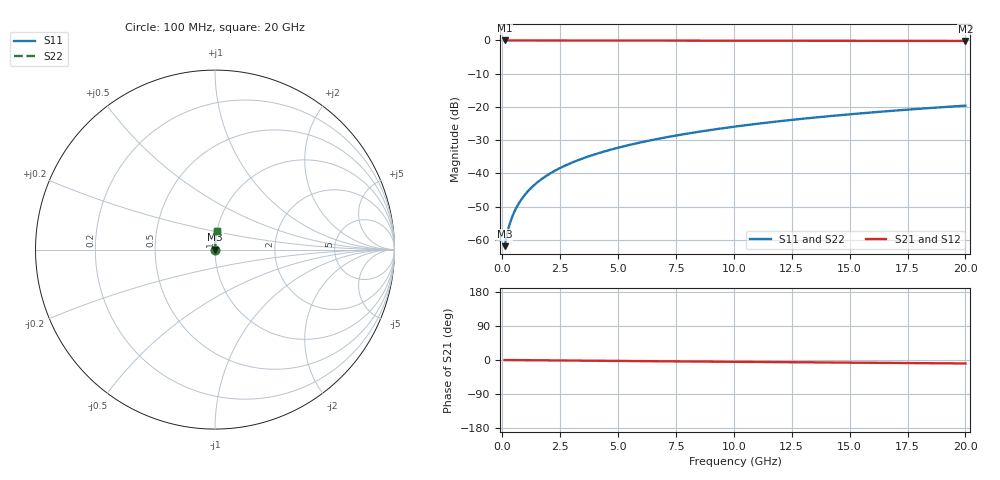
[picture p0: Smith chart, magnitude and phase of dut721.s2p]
! Touchstone file exported from HFSS 2024.1.0
!  File:  C:/UserFiles/LocalFiles/RDL_TSV_Batchsim/temp_RDL_bottom_721_1779858464.aedt
!  Generated:  01:10:05 PM May 27, 2026
!  Design:  RDL_bottom
!  Project:  temp_RDL_bottom_721_1779858464
!  Setup:  Setup1
!  Solution:  Sweep
! Variables:
!  dtsv = 10.80580581um
!  hbump = 3um
!  htsv = 54.42um
!  ldown = 111.56um
!  lrdl = 100um
!  p = 40
!  p1 = 40.71um
!  rhole = 1um
!  t = 450um
!  tdown = 4.75um
!  trdl = 3.915915916um
!  wdown = 18.03um
!  wrdl = 20um
# GHz S MA R 50.000000
! Terminal data exported
! Port[1] = RDL1_T1
! Port[2] = RDL1_T2
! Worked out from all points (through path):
!   200 points, 100 MHz to 20 GHz, reference 50 ohm
!   highest |S21| = -0.01 dB at 100 MHz (marker M1); lowest = -0.2 dB at 20 GHz (marker M2)
!   group delay of S21, straight-line fit = 1.25 ps
!   lowest |S11| = -61.9 dB at 100 MHz (marker M3), VSWR 1.00, Z = 50.1 + j0.0519 ohm
!   |S11| at or under -10 dB: start of sweep to end of sweep
!   |S22| runs from -61.9 to -19.6 dB; largest |S21 - S12| = 4.3e-15
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0.1  0.0008011 40.3  0.9994 -0.1  0.9994 -0.1  0.0008011 40.3
! Gamma 0 0 0 0
! Port Impedance 50 0 50 0
0.2  0.001202 57.9  0.9994 -0.1  0.9994 -0.1  0.001202 57.9
0.3  0.001641 66.2  0.9993 -0.2  0.9993 -0.2  0.001641 66.2
0.4  0.002091 71.0  0.9993 -0.2  0.9993 -0.2  0.002091 71.0
0.5  0.002546 74.2  0.9993 -0.3  0.9993 -0.3  0.002546 74.2
0.6  0.003006 76.5  0.9992 -0.3  0.9992 -0.3  0.003006 76.5
0.8  0.003936 79.7  0.9992 -0.4  0.9992 -0.4  0.003936 79.7
1.1  0.005347 82.4  0.9991 -0.6  0.9991 -0.6  0.005347 82.4
1.5  0.007246 84.4  0.999 -0.8  0.999 -0.8  0.007246 84.4
1.8  0.008677 85.4  0.9988 -0.9  0.9988 -0.9  0.008677 85.4
2.1  0.01011 86.1  0.9987 -1.1  0.9987 -1.1  0.01011 86.1
2.7  0.013 87.1  0.9983 -1.4  0.9983 -1.4  0.013 87.1
3.5  0.01689 87.9  0.9977 -1.8  0.9977 -1.8  0.01689 87.9
4.2  0.02032 88.3  0.9972 -2.1  0.9972 -2.1  0.02032 88.3
5  0.02429 88.7  0.9965 -2.5  0.9965 -2.5  0.02429 88.7
5.9  0.02883 88.9  0.9956 -2.9  0.9956 -2.9  0.02883 88.9
6.8  0.03343 89.0  0.9947 -3.3  0.9947 -3.3  0.03343 89.0
8.4  0.04176 88.9  0.9931 -4.1  0.9931 -4.1  0.04176 88.9
10.1  0.05079 88.5  0.9915 -4.8  0.9915 -4.8  0.05079 88.5
13.4  0.06862 87.3  0.9884 -6.3  0.9884 -6.3  0.06862 87.3
16.7  0.08656 85.8  0.9854 -7.7  0.9854 -7.7  0.08656 85.8
20  0.1044 84.1  0.9825 -9.1  0.9825 -9.1  0.1044 84.1
